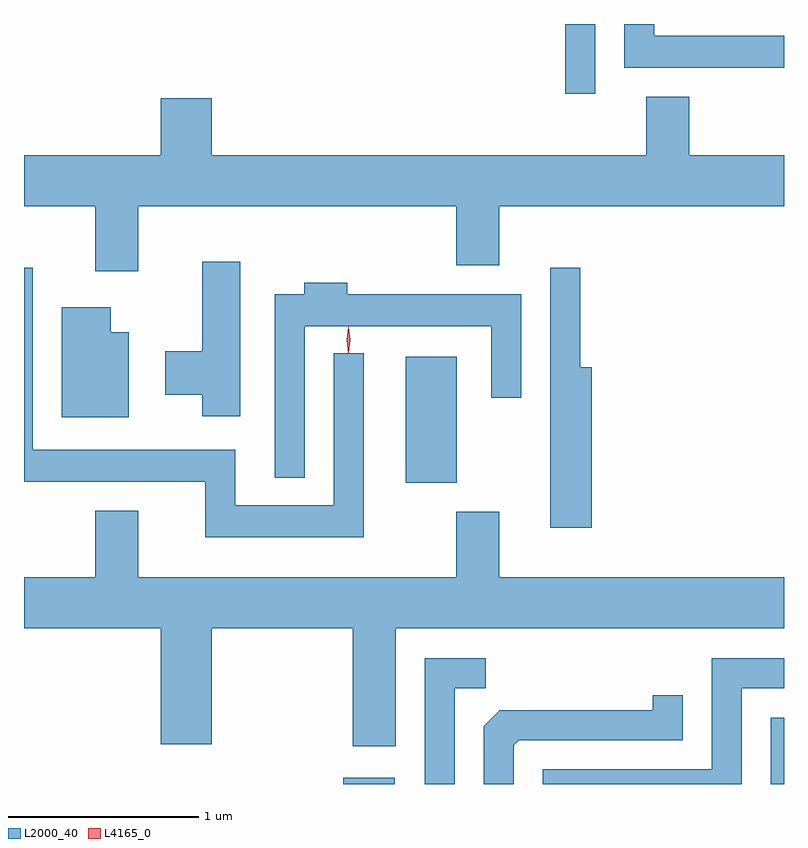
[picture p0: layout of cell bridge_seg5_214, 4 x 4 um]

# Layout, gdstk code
import gdstk
lib = gdstk.Library(unit=1e-6, precision=1e-09)
def R(c, l, rs):  # rectangles x0, y0, x1, y1
    for r in rs: c.add(gdstk.rectangle(r[:2], r[2:], *l))
def P(c, l, *ps):  # polygons
    for p in ps: c.add(gdstk.Polygon(p, *l))
L2000_40 = (2000, 40)
L4165_0 = (4165, 0)

bridge_seg5_214 = lib.new_cell('bridge_seg5_214')
R(bridge_seg5_214, L2000_40, [(1334.916,1424.896,1335.189,1424.929), (1337.166,1424.896,1337.237,1425.244), (1335.246,1426.481,1335.514,1427.144), (1336.086,1428.528,1336.244,1428.896)])
P(bridge_seg5_214, L2000_40, [(1337.237,1428.834),(1336.554,1428.834),(1336.554,1428.896),(1336.396,1428.896),(1336.396,1428.666),(1337.237,1428.666)],
  [(1333.839,1427.936),(1335.511,1427.936),(1335.511,1427.626),(1335.739,1427.626),(1335.739,1427.936),(1337.237,1427.936),(1337.237,1428.204),(1336.739,1428.204),(1336.739,1428.514),(1336.511,1428.514),(1336.511,1428.204),(1334.224,1428.204),(1334.224,1428.504),(1333.956,1428.504),(1333.956,1428.204),(1333.237,1428.204),(1333.237,1427.936),(1333.611,1427.936),(1333.611,1427.596),(1333.839,1427.596)],
  [(1334.374,1427.644),(1334.176,1427.644),(1334.176,1427.174),(1333.981,1427.174),(1333.981,1426.946),(1334.176,1426.946),(1334.176,1426.831),(1334.374,1426.831)],
  [(1336.224,1427.089),(1336.164,1427.089),(1336.164,1427.613),(1336.006,1427.613),(1336.006,1426.246),(1336.224,1426.246)],
  [(1335.024,1427.163),(1334.866,1427.163),(1334.866,1426.364),(1334.349,1426.364),(1334.349,1426.654),(1333.284,1426.654),(1333.284,1427.613),(1333.237,1427.613),(1333.237,1426.486),(1334.191,1426.486),(1334.191,1426.196),(1335.024,1426.196)],
  [(1334.714,1427.306),(1335.696,1427.306),(1335.696,1426.928),(1335.854,1426.928),(1335.854,1427.474),(1334.939,1427.474),(1334.939,1427.534),(1334.711,1427.534),(1334.711,1427.474),(1334.556,1427.474),(1334.556,1426.508),(1334.714,1426.508)],
  [(1333.789,1427.274),(1333.694,1427.274),(1333.694,1427.404),(1333.436,1427.404),(1333.436,1426.826),(1333.789,1426.826)],
  [(1335.194,1425.716),(1337.237,1425.716),(1337.237,1425.984),(1335.739,1425.984),(1335.739,1426.329),(1335.511,1426.329),(1335.511,1425.984),(1333.839,1425.984),(1333.839,1426.334),(1333.611,1426.334),(1333.611,1425.984),(1333.237,1425.984),(1333.237,1425.716),(1333.956,1425.716),(1333.956,1425.106),(1334.224,1425.106),(1334.224,1425.716),(1334.966,1425.716),(1334.966,1425.096),(1335.194,1425.096)],
  [(1335.504,1425.401),(1335.668,1425.401),(1335.668,1425.559),(1335.346,1425.559),(1335.346,1424.896),(1335.504,1424.896)],
  [(1337.014,1425.401),(1337.237,1425.401),(1337.237,1425.559),(1336.856,1425.559),(1336.856,1424.974),(1335.966,1424.974),(1335.966,1424.896),(1337.014,1424.896)],
  [(1335.814,1425.099),(1335.842,1425.126),(1336.704,1425.126),(1336.704,1425.363),(1336.546,1425.363),(1336.546,1425.284),(1335.742,1425.284),(1335.656,1425.199),(1335.656,1424.896),(1335.814,1424.896)])
P(bridge_seg5_214, L4165_0, [(1334.944,1427.164),(1334.935,1427.234),(1334.945,1427.302),(1334.945,1427.303),(1334.946,1427.302),(1334.955,1427.233),(1334.946,1427.164),(1334.945,1427.164)],
  [(1334.944,1427.167),(1334.935,1427.234),(1334.944,1427.3),(1334.945,1427.301),(1334.946,1427.3),(1334.955,1427.234),(1334.946,1427.167),(1334.945,1427.167)])

lib.write_gds('bridge_seg5_214.gds')
